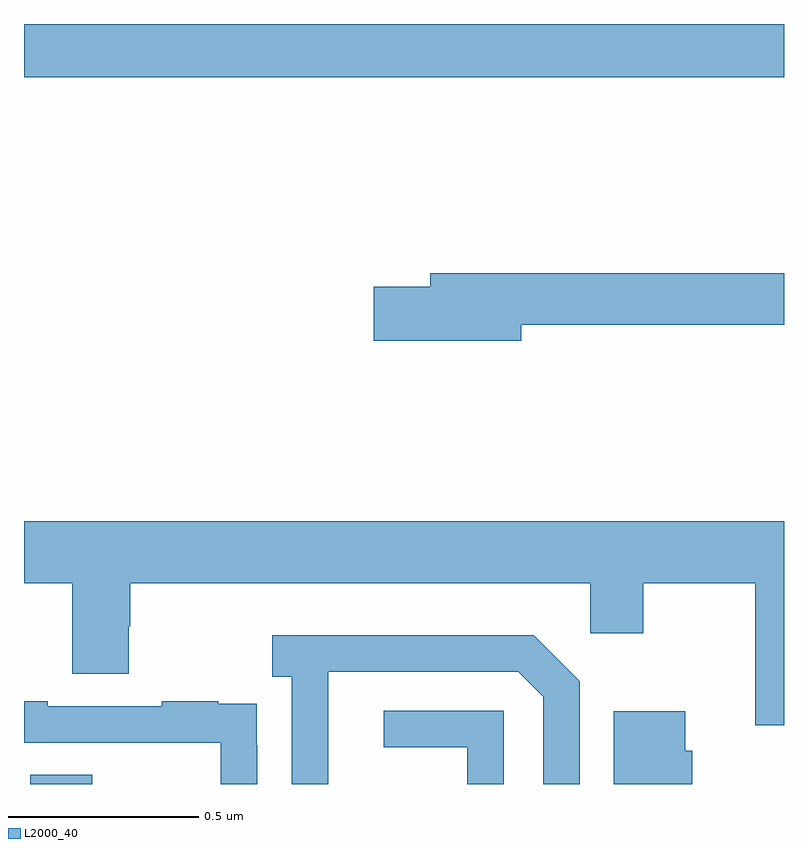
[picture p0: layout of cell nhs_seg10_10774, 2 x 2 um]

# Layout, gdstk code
import gdstk
lib = gdstk.Library(unit=1e-6, precision=1e-09)
def R(c, l, rs):  # rectangles x0, y0, x1, y1
    for r in rs: c.add(gdstk.rectangle(r[:2], r[2:], *l))
def P(c, l, *ps):  # polygons
    for p in ps: c.add(gdstk.Polygon(p, *l))
L2000_40 = (2000, 40)

nhs_seg10_10774 = lib.new_cell('nhs_seg10_10774')
R(nhs_seg10_10774, L2000_40, [(247.016,1254.5,247.18,1254.524), (247,1256.36,249,1256.5)])
P(nhs_seg10_10774, L2000_40, [(248.308,1255.708),(249,1255.708),(249,1255.844),(248.069,1255.844),(248.069,1255.808),(247.92,1255.808),(247.92,1255.666),(248.308,1255.666)],
  [(249,1255.192),(247,1255.192),(247,1255.028),(247.127,1255.028),(247.127,1254.79),(247.275,1254.79),(247.275,1254.915),(247.28,1254.915),(247.28,1255.028),(248.49,1255.028),(248.49,1254.897),(248.629,1254.897),(248.629,1255.028),(248.924,1255.028),(248.924,1254.654),(249,1254.654)],
  [(247.8,1254.595),(247.801,1254.595),(247.801,1254.795),(248.301,1254.795),(248.367,1254.729),(248.367,1254.5),(248.463,1254.5),(248.463,1254.771),(248.342,1254.892),(247.653,1254.892),(247.653,1254.782),(247.704,1254.782),(247.704,1254.5),(247.8,1254.5)],
  [(247.614,1254.602),(247.613,1254.602),(247.613,1254.711),(247.511,1254.711),(247.511,1254.718),(247.363,1254.718),(247.363,1254.705),(247.063,1254.705),(247.063,1254.718),(247,1254.718),(247,1254.609),(247.518,1254.609),(247.518,1254.5),(247.614,1254.5)],
  [(248.262,1254.693),(247.947,1254.693),(247.947,1254.597),(248.166,1254.597),(248.166,1254.5),(248.262,1254.5)],
  [(248.759,1254.587),(248.74,1254.587),(248.74,1254.691),(248.552,1254.691),(248.552,1254.5),(248.759,1254.5)])

lib.write_gds('nhs_seg10_10774.gds')
